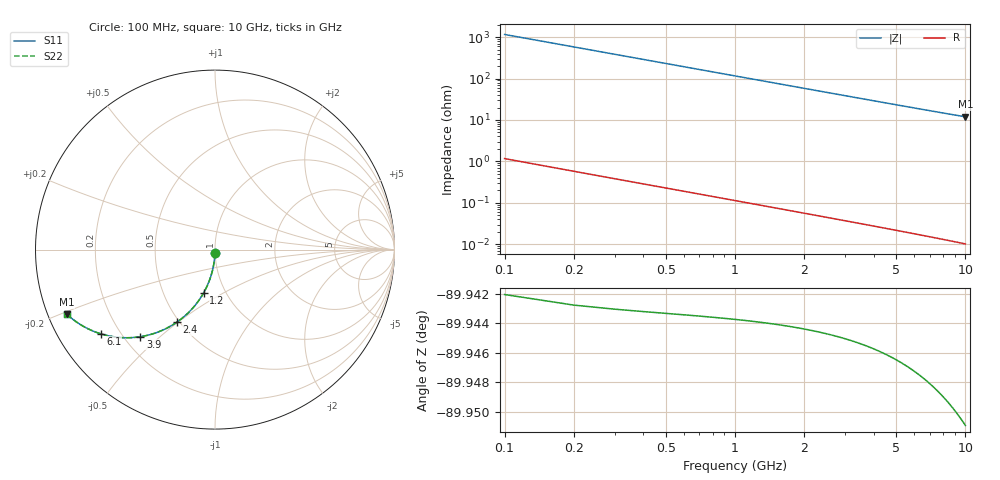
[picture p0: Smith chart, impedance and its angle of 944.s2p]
# Hz S RI R 50.00
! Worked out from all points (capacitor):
!   100 points, 100 MHz to 10 GHz, reference 50 ohm
!   read as one part in shunt: C = 1.38 pF near 100 MHz
!   lowest |Z| = 11.9 ohm at 10 GHz (marker M1)
!   S11 on the Smith chart (normalised r, x): 100 MHz: 1.00, -0.04; 1.2 GHz: 0.79, -0.41; 2.4 GHz: 0.48, -0.49; 3.9 GHz: 0.26, -0.43; 6.1 GHz: 0.13, -0.32; 10 GHz: 0.05, -0.21
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1e8  -0.000427 -0.0214  0.9994 -0.0218  0.9994 -0.0218  -0.000427 -0.0214
2e8  -0.00184 -0.0428  0.998 -0.0435  0.998 -0.0435  -0.00184 -0.0428
3e8  -0.00419 -0.064  0.9957 -0.0651  0.9957 -0.0651  -0.00419 -0.064
4e8  -0.00744 -0.0851  0.9924 -0.0865  0.9924 -0.0865  -0.00744 -0.0851
5e8  -0.0116 -0.1059  0.9883 -0.1077  0.9883 -0.1077  -0.0116 -0.1059
6e8  -0.0166 -0.1264  0.9833 -0.1286  0.9833 -0.1286  -0.0166 -0.1264
7e8  -0.0224 -0.1466  0.9774 -0.1491  0.9774 -0.1491  -0.0224 -0.1466
9e8  -0.0366 -0.1857  0.9633 -0.189  0.9633 -0.189  -0.0366 -0.1857
1.2e9  -0.0632 -0.2407  0.9367 -0.245  0.9367 -0.245  -0.0632 -0.2407
1.5e9  -0.0953 -0.2904  0.9046 -0.2959  0.9046 -0.2959  -0.0953 -0.2904
1.8e9  -0.1316 -0.3344  0.8682 -0.3409  0.8682 -0.3409  -0.1316 -0.3344
2.1e9  -0.171 -0.3723  0.8289 -0.3799  0.8289 -0.3799  -0.171 -0.3723
2.4e9  -0.2122 -0.4041  0.7876 -0.4128  0.7876 -0.4128  -0.2122 -0.4041
2.9e9  -0.2823 -0.4444  0.7175 -0.4549  0.7175 -0.4549  -0.2823 -0.4444
3.4e9  -0.3509 -0.4706  0.6489 -0.483  0.6489 -0.483  -0.3509 -0.4706
3.9e9  -0.4157 -0.4852  0.584 -0.4995  0.584 -0.4995  -0.4157 -0.4852
5.1e9  -0.5492 -0.4877  0.4505 -0.5064  0.4505 -0.5064  -0.5492 -0.4877
6.1e9  -0.6358 -0.4694  0.3638 -0.4919  0.3638 -0.4919  -0.6358 -0.4694
6.7e9  -0.6783 -0.4542  0.3213 -0.4789  0.3213 -0.4789  -0.6783 -0.4542
7.5e9  -0.7258 -0.4316  0.2737 -0.4594  0.2737 -0.4594  -0.7258 -0.4316
8.4e9  -0.7689 -0.4052  0.2305 -0.4364  0.2305 -0.4364  -0.7689 -0.4052
1e10  -0.8257 -0.3597  0.1734 -0.3972  0.1734 -0.3972  -0.8257 -0.3597
